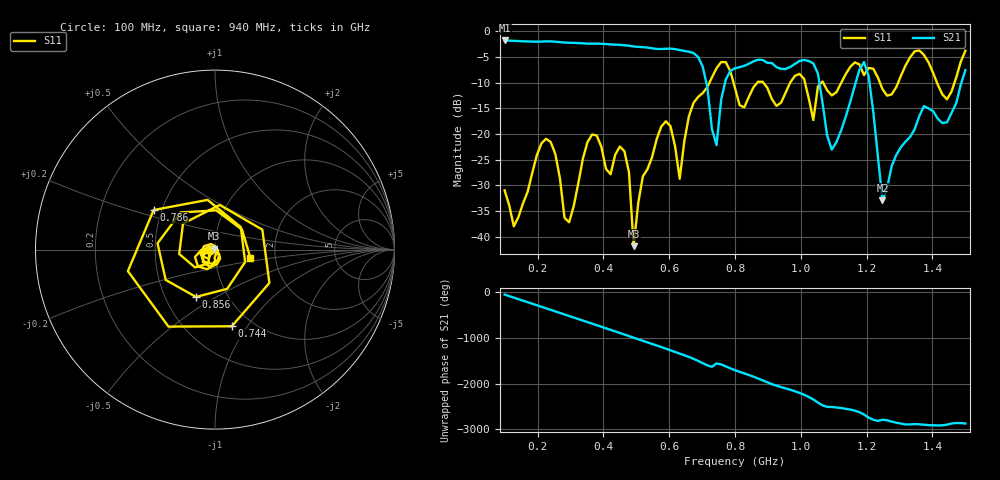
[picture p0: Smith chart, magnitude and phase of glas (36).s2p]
! NanoVNA-App
! Date: 2025-09-25 15:55:45
! Start: 100MHz Stop: 1,5GHz Points: 101
! S-Parameter data: F S11 S21 S12 S22
# Hz S RI R 50
!  Frequency  S11_Real  S11_Imag  S21_Real  S21_Imag  S12_Real  S12_Imag  S22_Real  S22_Imag
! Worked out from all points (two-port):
!   101 points, 100 MHz to 1.5 GHz, reference 50 ohm
!   highest |S21| = -1.80 dB at 100 MHz (marker M1); lowest = -32.9 dB at 1.248 GHz (marker M2)
!   |S21| within 3 dB of the highest: start of sweep to 684.2 MHz
!   lowest |S11| = -41.8 dB at 492 MHz (marker M3), VSWR 1.02, Z = 49.5 + j0.603 ohm
!   |S11| at or under -10 dB: start of sweep to 722.4 MHz; 795.4 MHz to 867.8 MHz (72.39 MHz wide, 8.7 % of centre); 886 MHz to 967.7 MHz (81.77 MHz wide, 8.82 % of centre) (the widest 3 of 7)
!   S12 and S22 are empty: the file has one direction only
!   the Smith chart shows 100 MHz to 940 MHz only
!   S11 on the Smith chart (normalised r, x): 100 MHz: 0.95, -0.01; 744 MHz: 0.81, -0.85; 786 MHz: 0.45, +0.24; 856 MHz: 0.71, -0.41; 940 MHz: 1.48, -0.14
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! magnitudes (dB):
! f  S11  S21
! 100 MHz  -31.0  -1.8
! 128 MHz  -38.0  -1.9
! 226 MHz  -20.9  -2.0
! 296 MHz  -37.2  -2.2
! 338 MHz  -24.7  -2.4
! 464 MHz  -23.3  -2.7
! 492 MHz  -41.8  -3.0
! 576 MHz  -18.5  -3.5
! 632 MHz  -28.7  -3.7
! 702 MHz  -12.0  -6.9
! 744 MHz  -7.2  -22.2
! 786 MHz  -7.8  -7.7
! 800 MHz  -11.1  -7.2
! 856 MHz  -10.9  -5.9
! 940 MHz  -13.9  -7.3
! 996 MHz  -8.3  -5.8
! 1.038 GHz  -17.3  -6.3
! 1.094 GHz  -12.5  -23.0
! 1.192 GHz  -8.5  -6.0
! 1.248 GHz  -11.3  -32.9
! 1.276 GHz  -12.3  -26.2
! 1.5 GHz  -3.8  -7.6
